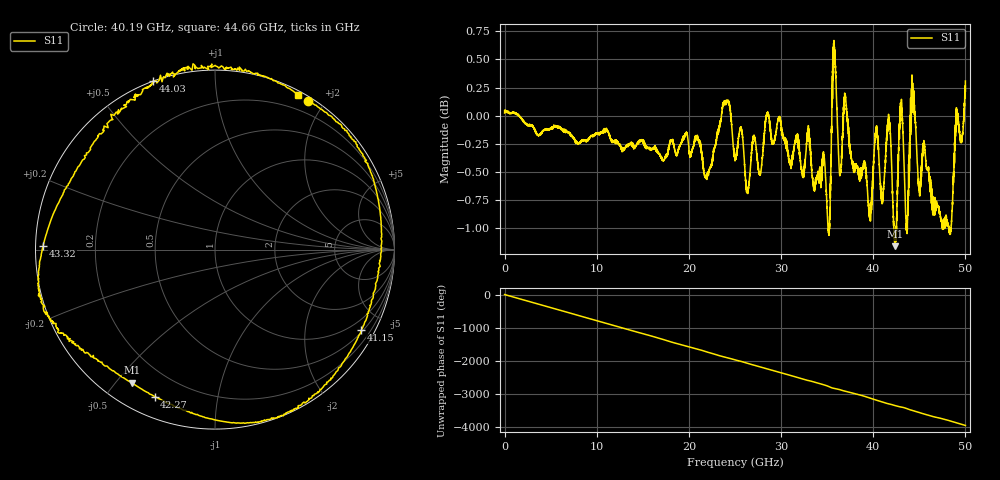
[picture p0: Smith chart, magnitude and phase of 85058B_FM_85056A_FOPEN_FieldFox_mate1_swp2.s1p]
!Created with skrf (http://scikit-rf.org).
# Hz S RI R 50.0
!freq ReS11 ImS11
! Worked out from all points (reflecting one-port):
!   10001 points, 300 kHz to 50 GHz, reference 50 ohm
!   lowest |S11| = -1.2 dB at 42.38 GHz (marker M1), VSWR 15.00, Z = 4.35 - j27.5 ohm
!   phase of S11 starts at 0 deg and turns -3962 deg over the sweep
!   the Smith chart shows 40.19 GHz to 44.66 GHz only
!   S11 on the Smith chart (normalised r, x): 40.19 GHz: 0.05, +1.80; 41.15 GHz: 0.56, -3.81; 42.27 GHz: 0.09, -0.67; 43.32 GHz: 0.02, +0.01; 44.03 GHz: -0.00, +0.70; 44.66 GHz: 0.04, +1.67
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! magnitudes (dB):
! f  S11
! 300 kHz  0.0
! 6.25 GHz  -0.1
! 12.5 GHz  -0.3
! 18.75 GHz  -0.3
! 21.94 GHz  -0.5
! 24.09 GHz  0.1
! 25 GHz  -0.4
! 31.25 GHz  -0.3
! 32.97 GHz  -0.1
! 35.14 GHz  -1.0
! 35.78 GHz  0.6
! 36.37 GHz  -0.5
! 36.95 GHz  0.2
! 37.5 GHz  -0.3
! 39.64 GHz  -0.9
! 40.19 GHz  -0.2
! 41.15 GHz  -0.6
! 41.71 GHz  0.0
! 42.27 GHz  -1.0
! 42.38 GHz  -1.2
! 42.96 GHz  0.1
! 43.32 GHz  -0.4
! 43.75 GHz  -0.8
! 44.03 GHz  0.0
! 44.66 GHz  -0.2
! 48.27 GHz  -1.0
! 49.03 GHz  0.1
! 50 GHz  0.3
